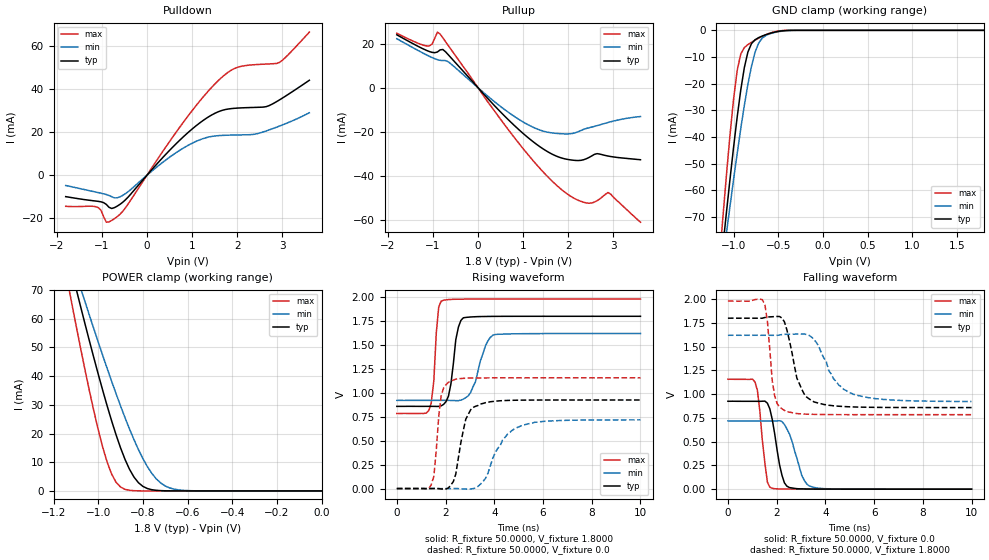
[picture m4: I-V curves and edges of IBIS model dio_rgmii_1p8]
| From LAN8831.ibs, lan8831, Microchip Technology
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[Model]  dio_rgmii_1p8
Model_type I/O
Polarity   Non-Inverting
Enable   Active-Low
Vinl =   0.702V
Vinh =   1.134V
C_comp   1.96pF   1.764pF   2.156pF
Vmeas =  0.9000V
Vref =   0.0V
[Temperature Range]   42.0000   0.1250k   -40.0000
[Voltage Range]   1.8000V   1.6200V   1.9800V
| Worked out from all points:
|   slope of the pulldown table from 0 to 0.27 V, typ, clamps not added: 42.3 ohm
|   slope of the pullup table from 0 to 0.27 V, typ, clamps not added: 44.3 ohm
|   GND clamp passes 1 mA (typ) near -0.58 V on its own axis
|   POWER clamp passes 1 mA (typ) near -0.78 V on its own axis
|   rising waveform, R_fixture 50.0000, V_fixture 1.8000: 20-80 % time 283ps typ, 501ps min, 191ps max; typ from 0.859 V to 1.8 V
|   rising waveform, R_fixture 50.0000, V_fixture 0.0: 20-80 % time 420ps typ, 862ps min, 242ps max; typ from 0 V to 0.926 V
|   falling waveform, R_fixture 50.0000, V_fixture 0.0: 20-80 % time 370ps typ, 497ps min, 277ps max; typ from 0.925 V to 0 V
|   falling waveform, R_fixture 50.0000, V_fixture 1.8000: 20-80 % time 560ps typ, 944ps min, 265ps max; typ from 1.8 V to 0.859 V
[Pulldown]
|Voltage   I(typ)   I(min)   I(max)
-1.8V     -9.903mA   -4.731mA   -14.39mA
-1.14V    -11.94mA   -7.75mA    -14.54mA
-1.02V    -12.3mA    -8.306mA   -16.17mA
-900mV    -13.52mA   -8.931mA   -21.76mA
-720mV    -15.01mA   -10.48mA   -20.14mA
-480mV    -11.46mA   -8.579mA   -15.24mA
780mV     17.3mA     12.27mA    23.8mA
1.56V     29.27mA    18.34mA    43.47mA
2.04V     31.19mA    18.71mA    50.27mA
2.64V     31.81mA    20.53mA    51.58mA
2.94V     34.99mA    22.83mA    52.36mA
3.6V      44.06mA    28.99mA    66.4mA
[Pullup]
|Voltage   I(typ)   I(min)   I(max)
-1.8V     24.07mA    22.29mA    24.77mA
-1.14V    16.96mA    14.93mA    19.01mA
-1.02V    16.09mA    13.74mA    19.81mA
-900mV    16.26mA    12.76mA    25.31mA
-840mV    17.21mA    12.46mA    24.42mA
-660mV    15.01mA    11.79mA    19.21mA
780mV     -16.7mA    -12.72mA   -22mA
1.44V     -27.8mA    -19.71mA   -38.23mA
1.86V     -32.02mA   -20.94mA   -46.49mA
2.34V     -32.76mA   -18.93mA   -52.09mA
2.88V     -31.08mA   -15.83mA   -47.69mA
3.6V      -32.77mA   -13.12mA   -61.17mA
[GND_clamp]
|Voltage   I(typ)   I(min)   I(max)
-1.8V     -318.4mA   -274.2mA   -373.5mA
-1.16V    -94.27mA   -97.02mA   -86.76mA
-1.12V    -81.14mA   -86.49mA   -70.22mA
-1.08V    -68.29mA   -76.1mA    -54.25mA
-1V       -43.83mA   -55.91mA   -25.69mA
-960mV    -32.57mA   -46.23mA   -15.04mA
-920mV    -22.42mA   -36.94mA   -8.899mA
-840mV    -8.146mA   -20.28mA   -5.358mA
-760mV    -3.544mA   -8.246mA   -3.701mA
-680mV    -2.146mA   -2.936mA   -2.277mA
-440mV    -142.1uA   -236.7uA   -59.27uA
1.8V      272.5pA    9.231nA    -105.6pA
[POWER_clamp]
|Voltage   I(typ)   I(min)   I(max)
-1.8V     305mA      257.8mA    363.6mA
-1.12V    77.07mA    80.82mA    66.04mA
-1.08V    64.61mA    71mA       50.19mA
-1.06V    58.48mA    66.15mA    42.53mA
-980mV    35.1mA     47.26mA    15.3mA
-940mV    24.45mA    38.24mA    5.894mA
-880mV    11mA       25.53mA    557.7uA
-840mV    4.852mA    17.89mA    83.67uA
-800mV    1.594mA    11.28mA    12.03uA
-740mV    210.4uA    4.206mA    649.8nA
-680mV    24.58uA    1.046mA    35.54nA
0V        272.5pA    3.415nA    219.1pA
[Ramp]
| variable   typ   min   max
dV/dt_r  0.5553/0.4456n   0.4308/0.8784n   0.6942/0.2236n
dV/dt_f  0.5647/0.5471n   0.4185/1.0007n   0.7175/0.2807n
R_load = 50.0000
[Rising Waveform]
R_fixture= 50.0000
V_fixture= 1.8000
V_fixture_min= 1.6200
V_fixture_max= 1.9800
|time   V(typ)   V(min)   V(max)
0s        858.9mV    921.3mV    784.4mV
1.31ns    859.2mV    921.4mV    814.9mV
1.52ns    859.1mV    921.4mV    1.129V
1.72ns    858.5mV    921.5mV    1.897V
1.82ns    864.5mV    921.5mV    1.958V
2.12ns    966.4mV    921.4mV    1.975V
2.42ns    1.555V     919mV      1.978V
2.73ns    1.784V     934.2mV    1.979V
3.94ns    1.799V     1.602V     1.98V
10ns      1.8V       1.62V      1.98V
[Rising Waveform]
R_fixture= 50.0000
V_fixture= 0.0
V_fixture_min= 0.0
V_fixture_max= 0.0
|time   V(typ)   V(min)   V(max)
0s        169.4uV    107.9uV    343.8uV
1.41ns    528.2uV    114.8uV    38.3mV
1.52ns    1.042mV    105.8uV    126.8mV
1.82ns    -3.811mV   130.5uV    968.6mV
2.22ns    37.79mV    525.9uV    1.123V
2.42ns    151.4mV    695uV      1.143V
2.83ns    725mV      -5.39mV    1.153V
3.43ns    883.4mV    46.04mV    1.156V
4.95ns    923.3mV    639.5mV    1.157V
10ns      925.5mV    718mV      1.157V
[Falling Waveform]
R_fixture= 50.0000
V_fixture= 0.0
V_fixture_min= 0.0
V_fixture_max= 0.0
|time   V(typ)   V(min)   V(max)
0s        925.3mV    718.1mV    1.157V
1.11ns    924.8mV    717.8mV    1.128V
1.21ns    924.5mV    717.8mV    1.04V
1.62ns    905.1mV    717.6mV    74.48mV
1.82ns    733.6mV    717.3mV    8.702mV
2.22ns    145.2mV    711mV      2.175mV
2.53ns    16.62mV    577.9mV    1.021mV
3.03ns    3.076mV    144.6mV    312.9uV
3.43ns    1.441mV    25.99mV    154.8uV
10ns      1.332uV    13.14uV    1.401uV
[Falling Waveform]
R_fixture= 50.0000
V_fixture= 1.8000
V_fixture_min= 1.6200
V_fixture_max= 1.9800
|time   V(typ)   V(min)   V(max)
0s        1.8V       1.62V      1.98V
1.41ns    1.8V       1.62V      1.995V
1.62ns    1.812V     1.62V      1.766V
1.92ns    1.817V     1.619V     980.7mV
2.42ns    1.677V     1.63V      815.5mV
2.83ns    1.169V     1.633V     796.3mV
3.54ns    917.6mV    1.574V     787mV
4.34ns    877.2mV    1.16V      784.8mV
5.15ns    865.5mV    998.7mV    784.3mV
10ns      858.8mV    922.5mV    784.1mV
